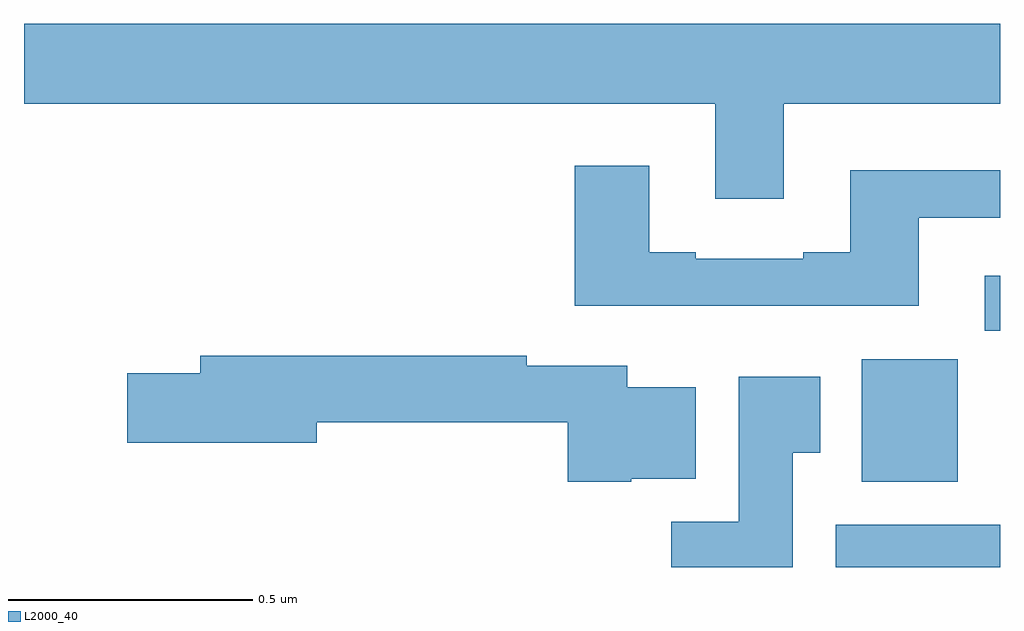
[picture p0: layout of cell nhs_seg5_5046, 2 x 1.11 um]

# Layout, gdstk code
import gdstk
lib = gdstk.Library(unit=1e-6, precision=1e-09)
def R(c, l, rs):  # rectangles x0, y0, x1, y1
    for r in rs: c.add(gdstk.rectangle(r[:2], r[2:], *l))
def P(c, l, *ps):  # polygons
    for p in ps: c.add(gdstk.Polygon(p, *l))
L2000_40 = (2000, 40)

nhs_seg5_5046 = lib.new_cell('nhs_seg5_5046')
R(nhs_seg5_5046, L2000_40, [(179.663,867.799,180,867.886), (179.717,867.974,179.913,868.225), (179.969,868.283,180,868.396)])
P(nhs_seg5_5046, L2000_40, [(179.557,868.748),(180,868.748),(180,868.912),(178,868.912),(178,868.748),(179.417,868.748),(179.417,868.554),(179.557,868.554)],
  [(179.833,868.515),(180,868.515),(180,868.612),(179.693,868.612),(179.693,868.444),(179.597,868.444),(179.597,868.431),(179.377,868.431),(179.377,868.444),(179.281,868.444),(179.281,868.621),(179.129,868.621),(179.129,868.334),(179.833,868.334)],
  [(179.244,867.98),(179.377,867.98),(179.377,868.168),(179.236,868.168),(179.236,868.212),(179.03,868.212),(179.03,868.232),(178.361,868.232),(178.361,868.196),(178.212,868.196),(178.212,868.054),(178.6,868.054),(178.6,868.096),(179.114,868.096),(179.114,867.974),(179.244,867.974)],
  [(179.575,868.033),(179.632,868.033),(179.632,868.189),(179.465,868.189),(179.465,867.892),(179.326,867.892),(179.326,867.799),(179.575,867.799)])

lib.write_gds('nhs_seg5_5046.gds')
